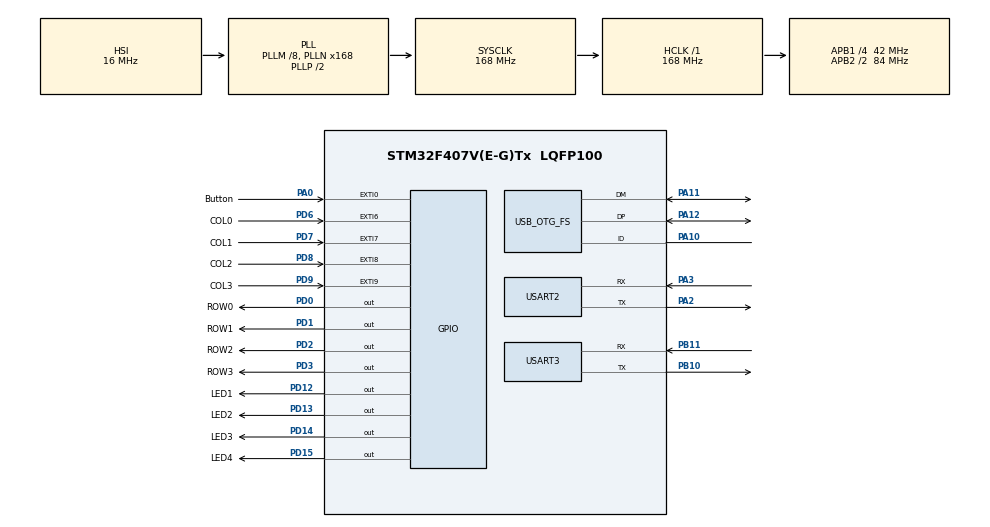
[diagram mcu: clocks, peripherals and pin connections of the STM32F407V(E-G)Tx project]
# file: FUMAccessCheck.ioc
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FREERTOS.BinarySemaphores01=UIDSemaphore,Dynamic,NULL
FREERTOS.Tasks01=defaultTask,0,128,StartDefaultTask,Default,NULL,Dynamic,NULL,NULL;RTC,-1,128,RTCController,Default,NULL,Dynamic,NULL,NULL;Keypad,0,128,keypadController,Default,NULL,Dynamic,NULL,NULL;LCD,0,128,LCDController,Default,NULL,Dynamic,NULL,NULL;EEPROM,2,128,E2PROMController,Default,NULL,Dynamic,NULL,NULL;ESP,0,128,WebPanelController,Default,NULL,Dynamic,NULL,NULL
FREERTOS.Timers01=myTimer01,Callback01,osTimerPeriodic,Default,NULL,Dynamic,NULL;myTimer02,Callback02,osTimerPeriodic,Default,NULL,Dynamic,NULL
FREERTOS.configUSE_TIMERS=1
Mcu.Family=STM32F4
Mcu.Name=STM32F407V(E-G)Tx
Mcu.Package=LQFP100
NVIC.EXTI0_IRQn=true\:5\:0\:true\:false\:true\:true\:true
NVIC.EXTI9_5_IRQn=true\:5\:0\:true\:false\:true\:true\:true
NVIC.PriorityGroup=NVIC_PRIORITYGROUP_4
NVIC.TIM6_DAC_IRQn=true\:0\:0\:false\:false\:true\:false\:false
NVIC.TimeBase=TIM6_DAC_IRQn
NVIC.TimeBaseIP=TIM6
NVIC.USART2_IRQn=true\:5\:0\:false\:false\:true\:true\:true
NVIC.USART3_IRQn=true\:5\:0\:false\:false\:true\:true\:true
PA0-WKUP.GPIO_Label=Button
PA0-WKUP.GPIO_PuPd=GPIO_PULLDOWN
PA0-WKUP.Signal=GPXTI0
PA10.Mode=OTG/Dual_Role_Device
PA10.Signal=USB_OTG_FS_ID
PA11.Mode=OTG/Dual_Role_Device
PA11.Signal=USB_OTG_FS_DM
PA12.Mode=OTG/Dual_Role_Device
PA12.Signal=USB_OTG_FS_DP
PA13.Mode=Serial_Wire
PA13.Signal=SYS_JTMS-SWDIO
PA14.Mode=Serial_Wire
PA14.Signal=SYS_JTCK-SWCLK
PA2.Mode=Asynchronous
PA2.Signal=USART2_TX
PA3.Mode=Asynchronous
PA3.Signal=USART2_RX
PB10.Mode=Asynchronous
PB10.Signal=USART3_TX
PB11.Mode=Asynchronous
PB11.Signal=USART3_RX
PD0.GPIO_Label=ROW0
PD0.GPIO_PuPd=GPIO_PULLDOWN
PD0.Signal=GPIO_Output
PD1.GPIO_Label=ROW1
PD1.GPIO_PuPd=GPIO_PULLDOWN
PD1.Signal=GPIO_Output
PD12.GPIO_Label=LED1
PD12.Signal=GPIO_Output
PD13.GPIO_Label=LED2
PD13.Signal=GPIO_Output
PD14.GPIO_Label=LED3
PD14.Signal=GPIO_Output
PD15.GPIO_Label=LED4
PD15.Signal=GPIO_Output
PD2.GPIO_Label=ROW2
PD2.GPIO_PuPd=GPIO_PULLDOWN
PD2.Signal=GPIO_Output
PD3.GPIO_Label=ROW3
PD3.GPIO_PuPd=GPIO_PULLDOWN
PD3.Signal=GPIO_Output
PD6.GPIO_Label=COL0
PD6.GPIO_PuPd=GPIO_PULLDOWN
PD6.Signal=GPXTI6
PD7.GPIO_Label=COL1
PD7.GPIO_PuPd=GPIO_PULLDOWN
PD7.Signal=GPXTI7
PD8.GPIO_Label=COL2
PD8.GPIO_PuPd=GPIO_PULLDOWN
PD8.Signal=GPXTI8
PD9.GPIO_Label=COL3
PD9.GPIO_PuPd=GPIO_PULLDOWN
PD9.Signal=GPXTI9
ProjectManager.HeapSize=0x200
ProjectManager.StackSize=0x400
ProjectManager.TargetToolchain=MDK-ARM V5
RCC.48MHZClocksFreq_Value=48000000
RCC.AHBFreq_Value=168000000
RCC.APB1CLKDivider=RCC_HCLK_DIV4
RCC.APB1Freq_Value=42000000
RCC.APB1TimFreq_Value=84000000
RCC.APB2CLKDivider=RCC_HCLK_DIV2
RCC.APB2Freq_Value=84000000
RCC.APB2TimFreq_Value=168000000
RCC.CortexFreq_Value=168000000
RCC.HCLKFreq_Value=168000000
RCC.HSE_VALUE=8000000
RCC.HSI_VALUE=16000000
RCC.LSE_VALUE=32768
RCC.PLLM=8
RCC.PLLN=168
RCC.PLLQ=7
RCC.PLLSourceVirtualString=RCC_PLLSOURCE_HSI
RCC.SYSCLKFreq_VALUE=168000000
RCC.SYSCLKSource=RCC_SYSCLKSOURCE_PLLCLK
RCC.VCOOutputFreq_Value=336000000
RTC.AsynchPrediv=31
RTC.Date=1
RTC.Hours=0
RTC.Minutes=0
RTC.Month=RTC_MONTH_JANUARY
RTC.SynchPrediv=999
RTC.WeekDay=RTC_WEEKDAY_MONDAY
USART2.VirtualMode=VM_ASYNC
USART3.VirtualMode=VM_ASYNC
VP_FREERTOS_VS_ENABLE.Mode=Enabled
VP_RTC_VS_RTC_Activate.Mode=RTC_Enabled
VP_RTC_VS_RTC_Calendar.Mode=RTC_Calendar
VP_SYS_VS_tim6.Mode=TIM6
board=STM32F4DISCOVERY

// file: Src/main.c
/* USER CODE BEGIN Header */
/**
  ******************************************************************************
  * @file           : main.c
  * @brief          : Main program body
  ******************************************************************************
  * This notice applies to any and all portions of this file
  * that are not between comment pairs USER CODE BEGIN and
  * USER CODE END. Other portions of this file, whether
  * inserted by the user or by software development tools
  * are owned by their respective copyright owners.
  *
  * Copyright (c) 2019 STMicroelectronics International N.V.
  * All rights reserved.
  *
  * Redistribution and use in source and binary forms, with or without
  * modification, are permitted, provided that the following conditions are met:
  *
  * 1. Redistribution of source code must retain the above copyright notice,
  *    this list of conditions and the following disclaimer.
  * 2. Redistributions in binary form must reproduce the above copyright notice,
  *    this list of conditions and the following disclaimer in the documentation
  *    and/or other materials provided with the distribution.
  * 3. Neither the name of STMicroelectronics nor the names of other
  *    contributors to this software may be used to endorse or promote products
  *    derived from this software without specific written permission.
  * 4. This software, including modifications and/or derivative works of this
  *    software, must execute solely and exclusively on microcontroller or
  *    microprocessor devices manufactured by or for STMicroelectronics.
  * 5. Redistribution and use of this software other than as permitted under
  *    this license is void and will automatically terminate your rights under
  *    this license.
  *
  * THIS SOFTWARE IS PROVIDED BY STMICROELECTRONICS AND CONTRIBUTORS "AS IS"
  * AND ANY EXPRESS, IMPLIED OR STATUTORY WARRANTIES, INCLUDING, BUT NOT
  * LIMITED TO, THE IMPLIED WARRANTIES OF MERCHANTABILITY, FITNESS FOR A
  * PARTICULAR PURPOSE AND NON-INFRINGEMENT OF THIRD PARTY INTELLECTUAL PROPERTY
  * RIGHTS ARE DISCLAIMED TO THE FULLEST EXTENT PERMITTED BY LAW. IN NO EVENT
  * SHALL STMICROELECTRONICS OR CONTRIBUTORS BE LIABLE FOR ANY DIRECT, INDIRECT,
  * INCIDENTAL, SPECIAL, EXEMPLARY, OR CONSEQUENTIAL DAMAGES (INCLUDING, BUT NOT
  * LIMITED TO, PROCUREMENT OF SUBSTITUTE GOODS OR SERVICES; LOSS OF USE, DATA,
  * OR PROFITS; OR BUSINESS INTERRUPTION) HOWEVER CAUSED AND ON ANY THEORY OF
  * LIABILITY, WHETHER IN CONTRACT, STRICT LIABILITY, OR TORT (INCLUDING
  * NEGLIGENCE OR OTHERWISE) ARISING IN ANY WAY OUT OF THE USE OF THIS SOFTWARE,
  * EVEN IF ADVISED OF THE POSSIBILITY OF SUCH DAMAGE.
  *
  ******************************************************************************
  */
/* USER CODE END Header */

#include "main.h"
#include "cmsis_os.h"

/* USER CODE BEGIN Includes */
#include "LiquidCrystal.h"
#include "stdlib.h"
#include <stdbool.h>
#include "eeprom.h"
/* USER CODE END Includes */

/* USER CODE BEGIN PD */

/*RTC vars*/
int i = 0;
char str[20];
char str2[20];
RTC_TimeTypeDef mytime;
RTC_DateTypeDef mydate;
extern bool RTCFlag;

/*Keypad vars*/
int keypadCounter= 1;
const char keypad[4][4]={{'1','2','3','A'},
									{'4','5','6','B'},
									{'7','8','9','C'},
									{'*','0','#','D'}};
int column;
int cursore = 0;
int cntr = 0;
bool clearScreen = true;
extern bool keypadFlag;
bool uidFlag = true;
bool passFlag = false;
char StudentNumber[100];
char password[100];

/*E2PROM vars*/
uint16_t VirtAddVarTab[NB_OF_VAR] = {0x5555, 0x6666, 0x7777};
uint16_t VarDataTab[NB_OF_VAR] = {5, 6, 7};
uint16_t VarValue,VarDataTmp = 0;
unsigned char E2PROMstr[1];
char received[100];
uint16_t E2PROMCounter = 0;
uint16_t E2PROMBuffer[100];
bool E2PROMFlag = false;
bool ESPFlag = false;
/*flags*/
extern bool resetFlag;
/* USER CODE END PD */

RTC_HandleTypeDef hrtc;

UART_HandleTypeDef huart2;
UART_HandleTypeDef huart3;

osThreadId defaultTaskHandle;
osThreadId RTCHandle;
osThreadId KeypadHandle;
osThreadId LCDHandle;
osThreadId EEPROMHandle;
osThreadId ESPHandle;
osTimerId myTimer01Handle;
osTimerId myTimer02Handle;
osSemaphoreId UIDSemaphoreHandle;
/* USER CODE BEGIN PV */
#ifdef __GNUC__
	#define PUTCHAR_PROTOTYPE int __io_putchar(int ch)
#else
	#define PUTCHAR_PROTOTYPE int fputc(int ch, FILE *f)
#endif

PUTCHAR_PROTOTYPE
{
	HAL_UART_Transmit(&huart3, (uint8_t *)&ch, 1, 1000); // change &uart1 accordingly
	return ch;
}
/* USER CODE END PV */

void SystemClock_Config(void);
static void MX_GPIO_Init(void);
static void MX_RTC_Init(void);
static void MX_USART3_UART_Init(void);
static void MX_USART2_UART_Init(void);
static void MX_USB_OTG_FS_USB_Init(void);
void StartDefaultTask(void const * argument);
void RTCController(void const * argument);
void keypadController(void const * argument);
void LCDController(void const * argument);
void E2PROMController(void const * argument);
void WebPanelController(void const * argument);
void Callback01(void const * argument);
void Callback02(void const * argument);

/* USER CODE BEGIN 0 */
void RTCInitialization(){
	mytime.Hours = 17 ;
	mytime.Minutes = 37;
	mytime.Seconds= 5;

	mydate.Year = 19;
	mydate.Month = RTC_MONTH_JULY;
	mydate.Date = 22;
	mydate.WeekDay = RTC_WEEKDAY_MONDAY;

	HAL_RTC_SetTime(&hrtc , &mytime,RTC_FORMAT_BCD);
	HAL_RTC_SetDate(&hrtc , &mydate,RTC_FORMAT_BCD);
}

void setRTC(){
		RTCInitialization();
		setCursor(0, 1);
		if(mydate.WeekDay == 1 ) print("Mon");
		else if (mydate.WeekDay == 2)	print("TUE");
		else if (mydate.WeekDay == 3)	print("WED");
		else if (mydate.WeekDay == 4)	print("THU");
		else if (mydate.WeekDay == 5)	print("FRI");
		else if (mydate.WeekDay == 6)	print("SAT");
		else if (mydate.WeekDay == 7)	print("SUN");

		setCursor(5, 1);
		sprintf(str2, "%02d/%02d", mydate.Month , mydate.Date);
		print(str2);

		setCursor(11, 1);
		sprintf(str, "%02d:%02d", mytime.Hours , mytime.Minutes);
		print(str);

    osDelay(500);
}

//void manageLCD(){
//	setCursor(0,0);
//	print("FUM Access Check");
//
//	osDelay(500);
//}

void startPage(){
	setCursor(0,0);
	print("FUM Access Check");
//	HAL_GPIO_WritePin(GPIOD, GPIO_PIN_12, GPIO_PIN_SET);
//	printf("uartConnected..\r\n");
	if(RTCFlag){
//		HAL_GPIO_WritePin(GPIOD, GPIO_PIN_15, 1);
		RTCFlag = false;
		setRTC();
		osTimerStart(myTimer01Handle, 100);
	}
}

void eepromGetId(){
	HAL_FLASH_Unlock();
	/* EEPROM Init */
	if( EE_Init() != EE_OK ){
		Error_Handler();
	}
	EE_ReadVariable(VirtAddVarTab[1], &E2PROMCounter);
	if(E2PROMCounter == 0xFFFF){
		E2PROMCounter = 0;
		EE_WriteVariable(VirtAddVarTab[1], E2PROMCounter);
	}
//	  for(int i = 0; i < E2PROMCounter; i++){
//			EE_ReadVariable(VirtAddVarTab[0]+i, (uint16_t *)&E2PROMBuffer[i]);
//	  }
//	  HAL_UART_Transmit(&huart2, (uint8_t *)E2PROMBuffer, sizeof(E2PROMBuffer), 100);
//
	  HAL_FLASH_Lock();
	if(E2PROMFlag){
			HAL_FLASH_Unlock();

			for(int i = 0; i < 10; i++){
				if(EE_WriteVariable(VirtAddVarTab[0] + E2PROMCounter++, StudentNumber[i]) != HAL_OK){
					Error_Handler();
				}
				EE_WriteVariable(VirtAddVarTab[1], E2PROMCounter);
			}

			EE_WriteVariable(VirtAddVarTab[1], E2PROMCounter);
			HAL_FLASH_Lock();
		}
}

void manageKeypad(){
	for(int row=0;row<4;row++){
			column= -1;
			switch(row){
				case 0:
					HAL_GPIO_WritePin(GPIOD,GPIO_PIN_0,1);
					HAL_GPIO_WritePin(GPIOD,GPIO_PIN_1,0);
					HAL_GPIO_WritePin(GPIOD,GPIO_PIN_2,0);
					HAL_GPIO_WritePin(GPIOD,GPIO_PIN_3,0);
					break;
				case 1:
					HAL_GPIO_WritePin(GPIOD,GPIO_PIN_0,0);
					HAL_GPIO_WritePin(GPIOD,GPIO_PIN_1,1);
					HAL_GPIO_WritePin(GPIOD,GPIO_PIN_2,0);
					HAL_GPIO_WritePin(GPIOD,GPIO_PIN_3,0);
					break;
				case 2:
					HAL_GPIO_WritePin(GPIOD,GPIO_PIN_0,0);
					HAL_GPIO_WritePin(GPIOD,GPIO_PIN_1,0);
					HAL_GPIO_WritePin(GPIOD,GPIO_PIN_2,1);
					HAL_GPIO_WritePin(GPIOD,GPIO_PIN_3,0);
					break;
				case 3:
					HAL_GPIO_WritePin(GPIOD,GPIO_PIN_0,0);
					HAL_GPIO_WritePin(GPIOD,GPIO_PIN_1,0);
					HAL_GPIO_WritePin(GPIOD,GPIO_PIN_2,0);
					HAL_GPIO_WritePin(GPIOD,GPIO_PIN_3,1);
					break;
			}
			//debaunce
			if(HAL_GPIO_ReadPin(GPIOD,GPIO_PIN_6)){
				column=0;
//				HAL_GPIO_WritePin(GPIOD, GPIO_PIN_13, 1);
				while(HAL_GPIO_ReadPin(GPIOD,GPIO_PIN_6));
			}
			if(HAL_GPIO_ReadPin(GPIOD,GPIO_PIN_7)){
				column=1;
				while(HAL_GPIO_ReadPin(GPIOD,GPIO_PIN_7));
			}
			if(HAL_GPIO_ReadPin(GPIOD,GPIO_PIN_8)){
				column=2;
				while(HAL_GPIO_ReadPin(GPIOD,GPIO_PIN_8));
			}
			if(HAL_GPIO_ReadPin(GPIOD,GPIO_PIN_9)){
				column=3;
				while(HAL_GPIO_ReadPin(GPIOD,GPIO_PIN_9));
			}

			if(keypadFlag){
				if(column!=-1){
//					HAL_GPIO_WritePin(GPIOD, GPIO_PIN_14, 1);
//					printf("%c", keypad[row][column]);

					if(clearScreen == true){
						setCursor(0,0);
						print("                ");
						setCursor(0,1);
						print("                ");
						clearScreen = false;
					}
//					clear();
					setCursor(cursore,0);
					cntr=0;
					if(keypad[row][column]=='1'||keypad[row][column]=='2'||keypad[row][column]=='3'||keypad[row][column]=='4'||keypad[row][column]=='5'||
						keypad[row][column]=='6'||keypad[row][column]=='7'||keypad[row][column]=='8'||keypad[row][column]=='9'||keypad[row][column]=='0'){
//							if(uidFlag){
							setCursor(0,0);
							print("Enter UID :");
							setCursor(cursore++,1);
							StudentNumber[cntr++]=keypad[row][column];
							write(keypad[row][column]);
//							}

					}else if(keypad[row][column]=='*'){
						printf("finished!\r\n");
						clearScreen = true;
						cursore = 0;
						clear();
						RTCFlag = true;
						startPage();
						break;
					}else if(keypad[row][column]=='#'){
						printf("checkUID!\r\n");
						clearScreen = true;
						cursore = 0;
						clear();
						setCursor(0,0);
//						uidFlag = false;
						print("Cheking UID!");
						HAL_Delay(100);
						clear();
						setCursor(0,0);
						print("unauthorized");
						HAL_GPIO_TogglePin(GPIOD, GPIO_PIN_12);
						HAL_GPIO_TogglePin(GPIOD, GPIO_PIN_13);
						HAL_GPIO_TogglePin(GPIOD, GPIO_PIN_14);
						HAL_GPIO_TogglePin(GPIOD, GPIO_PIN_15);
						osTimerStart(myTimer02Handle, 10);
						break;
					}else if(keypad[row][column]=='A'||keypad[row][column]=='B'||keypad[row][column]=='C'||keypad[row][column]=='D'){
						clear();
						setCursor(0,0);
						print("Enter Password :");
						HAL_Delay(100);
//						if(passFlag){
//							password[cntr++]=keypad[row][column];
//							write(keypad[row][column]);
//						}

						//password check ...
						if(keypad[row][column]=='A'){
							cursore = 0;
							clear();
							setCursor(0,0);
							ESPFlag = true;
							print("Checking SSID...");
						}else if(keypad[row][column]=='B'){
							cursore = 0;
							clear();
							setCursor(0,0);
							print("saving..");
							E2PROMFlag = true;
							eepromGetId();
						}else if(keypad[row][column]=='C'){
							cursore = 0;
							clear();
							setCursor(0,0);
							print("Enter UID :");
						}else if(keypad[row][column]=='D'){
							cursore = 0;
							clear();
							setCursor(0,0);
							print("Restart ...");
							HAL_Delay(50);
							HAL_NVIC_SystemReset();
						}
					}
				}
			}
		}
}

//void manageEEPROM(){
//	/* Unlock the Flash Program Erase controller */
//	  HAL_FLASH_Unlock();
//
//	  /* EEPROM Init */
//	  if( EE_Init() != EE_OK){
//			Error_Handler();
//	  }
//
//	  EE_ReadVariable(VirtAddVarTab[1], &E2PROMCounter);
//
//	  if(E2PROMCounter == 0xFFFF){
//			E2PROMCounter = 0;
//			EE_WriteVariable(VirtAddVarTab[1], E2PROMCounter);
//	  }
//
//	  for(int i = 0; i < E2PROMCounter; i++){
//			EE_ReadVariable(VirtAddVarTab[0]+i, (uint16_t *)&E2PROMBuffer[i]);
//	  }
//	  HAL_UART_Transmit(&huart2, (uint8_t *)E2PROMBuffer, sizeof(E2PROMBuffer), 100);
//
//	  HAL_FLASH_Lock();
//
//	  HAL_UART_Receive_IT(&huart2, E2PROMstr, 1);
//
//		if(E2PROMFlag){
//			HAL_FLASH_Unlock();
//
//			E2PROMBuffer[E2PROMCounter]=E2PROMstr[0];
//
//			for(int i = 0; i < 10; i++){
//				if(EE_WriteVariable(VirtAddVarTab[0] + E2PROMCounter++, StudentNumber[i]) != HAL_OK){
//					Error_Handler();
//				}
//			}
//			EE_WriteVariable(VirtAddVarTab[1], E2PROMCounter);
//
//			HAL_FLASH_Lock();
//			HAL_UART_Receive_IT(&huart2,E2PROMstr,1);
//		}
//}

//void resetFactory(){
//	if(resetFlag){
//		HAL_NVIC_SystemReset();
//		keypadCounter= 1;
//		cursore = 0;
//		cntr = 0;
//		clearScreen = true;
//		VarValue = 0;
//		VarDataTmp = 0;
//		E2PROMCounter = 0;
//		E2PROMFlag = false;
//		keypadFlag = false;
//		RTCFlag = true;
//		resetFlag = false;
//	}
//}

void atCommound(){
	printf("AT\r\n");
	osDelay(700);
	printf("AT+CWMODE=1\r\n");
	osDelay(2700);
	printf("AT+AT+CIFSR\r\n");
	osDelay(2700);
	printf("AT+CWJAP=\"hodhod\",\"12345678\"\r\n");
	osDelay(2700);
	printf("AT+CWJAP=?\r\n");
	osDelay(2700);
	printf("AT+CIPMUX=1\r\n");
	osDelay(2700);
	printf("AT+CIPSERVER=1,80\r\n");
	osDelay(2700);
//	printf("AT+CWJAP=\"hodhod\",\"12345678\",4,0\r\n");
//	osDelay(2700);
}
/* USER CODE END 0 */

int main(void)
{

  /* MCU Configuration--------------------------------------------------------*/

  /* Reset of all peripherals, Initializes the Flash interface and the Systick. */
  HAL_Init();

  /* USER CODE BEGIN Init */
	LiquidCrystal(GPIOE, GPIO_PIN_8, GPIO_PIN_9, GPIO_PIN_10, GPIO_PIN_11, GPIO_PIN_12, GPIO_PIN_13, GPIO_PIN_14);
  /* USER CODE END Init */

  /* Configure the system clock */
  SystemClock_Config();

  /* Initialize all configured peripherals */
  MX_GPIO_Init();
  MX_RTC_Init();
  MX_USART3_UART_Init();
  MX_USART2_UART_Init();
  MX_USB_OTG_FS_USB_Init();
  /* USER CODE BEGIN 2 */

	/*RTC initialization*/

  /* USER CODE END 2 */

  /* Create the semaphores(s) */
  /* definition and creation of UIDSemaphore */
  osSemaphoreDef(UIDSemaphore);
  UIDSemaphoreHandle = osSemaphoreCreate(osSemaphore(UIDSemaphore), 1);

  /* Create the timer(s) */
  /* definition and creation of myTimer01 */
  osTimerDef(myTimer01, Callback01);
  myTimer01Handle = osTimerCreate(osTimer(myTimer01), osTimerPeriodic, NULL);

  /* definition and creation of myTimer02 */
  osTimerDef(myTimer02, Callback02);
  myTimer02Handle = osTimerCreate(osTimer(myTimer02), osTimerPeriodic, NULL);

  /* Create the thread(s) */
  /* definition and creation of defaultTask */
  osThreadDef(defaultTask, StartDefaultTask, osPriorityNormal, 0, 128);
  defaultTaskHandle = osThreadCreate(osThread(defaultTask), NULL);

  /* definition and creation of RTC */
  osThreadDef(RTC, RTCController, osPriorityBelowNormal, 0, 128);
  RTCHandle = osThreadCreate(osThread(RTC), NULL);

  /* definition and creation of Keypad */
  osThreadDef(Keypad, keypadController, osPriorityNormal, 0, 128);
  KeypadHandle = osThreadCreate(osThread(Keypad), NULL);

  /* definition and creation of LCD */
  osThreadDef(LCD, LCDController, osPriorityNormal, 0, 128);
  LCDHandle = osThreadCreate(osThread(LCD), NULL);

  /* definition and creation of EEPROM */
  osThreadDef(EEPROM, E2PROMController, osPriorityHigh, 0, 128);
  EEPROMHandle = osThreadCreate(osThread(EEPROM), NULL);

  /* definition and creation of ESP */
  osThreadDef(ESP, WebPanelController, osPriorityNormal, 0, 128);
  ESPHandle = osThreadCreate(osThread(ESP), NULL);

  /* Start scheduler */
  osKernelStart();

  /* We should never get here as control is now taken by the scheduler */

  /* Infinite loop */
  while (1){

  }
}

void SystemClock_Config(void)
{
  RCC_OscInitTypeDef RCC_OscInitStruct = {0};
  RCC_ClkInitTypeDef RCC_ClkInitStruct = {0};
  RCC_PeriphCLKInitTypeDef PeriphClkInitStruct = {0};

  /**Configure the main internal regulator output voltage
  */
  __HAL_RCC_PWR_CLK_ENABLE();
  __HAL_PWR_VOLTAGESCALING_CONFIG(PWR_REGULATOR_VOLTAGE_SCALE1);
  /**Initializes the CPU, AHB and APB busses clocks
  */
  RCC_OscInitStruct.OscillatorType = RCC_OSCILLATORTYPE_HSI|RCC_OSCILLATORTYPE_LSI;
  RCC_OscInitStruct.HSIState = RCC_HSI_ON;
  RCC_OscInitStruct.HSICalibrationValue = RCC_HSICALIBRATION_DEFAULT;
  RCC_OscInitStruct.LSIState = RCC_LSI_ON;
  RCC_OscInitStruct.PLL.PLLState = RCC_PLL_ON;
  RCC_OscInitStruct.PLL.PLLSource = RCC_PLLSOURCE_HSI;
  RCC_OscInitStruct.PLL.PLLM = 8;
  RCC_OscInitStruct.PLL.PLLN = 168;
  RCC_OscInitStruct.PLL.PLLP = RCC_PLLP_DIV2;
  RCC_OscInitStruct.PLL.PLLQ = 7;
  if (HAL_RCC_OscConfig(&RCC_OscInitStruct) != HAL_OK)
  {
    Error_Handler();
  }
  /**Initializes the CPU, AHB and APB busses clocks
  */
  RCC_ClkInitStruct.ClockType = RCC_CLOCKTYPE_HCLK|RCC_CLOCKTYPE_SYSCLK
                              |RCC_CLOCKTYPE_PCLK1|RCC_CLOCKTYPE_PCLK2;
  RCC_ClkInitStruct.SYSCLKSource = RCC_SYSCLKSOURCE_PLLCLK;
  RCC_ClkInitStruct.AHBCLKDivider = RCC_SYSCLK_DIV1;
  RCC_ClkInitStruct.APB1CLKDivider = RCC_HCLK_DIV4;
  RCC_ClkInitStruct.APB2CLKDivider = RCC_HCLK_DIV2;

  if (HAL_RCC_ClockConfig(&RCC_ClkInitStruct, FLASH_LATENCY_5) != HAL_OK)
  {
    Error_Handler();
  }
  PeriphClkInitStruct.PeriphClockSelection = RCC_PERIPHCLK_RTC;
  PeriphClkInitStruct.RTCClockSelection = RCC_RTCCLKSOURCE_LSI;
  if (HAL_RCCEx_PeriphCLKConfig(&PeriphClkInitStruct) != HAL_OK)
  {
    Error_Handler();
  }
}

static void MX_RTC_Init(void)
{

  RTC_TimeTypeDef sTime = {0};
  RTC_DateTypeDef sDate = {0};

  /**Initialize RTC Only
  */
  hrtc.Instance = RTC;
  hrtc.Init.HourFormat = RTC_HOURFORMAT_24;
  hrtc.Init.AsynchPrediv = 31;
  hrtc.Init.SynchPrediv = 999;
  hrtc.Init.OutPut = RTC_OUTPUT_DISABLE;
  hrtc.Init.OutPutPolarity = RTC_OUTPUT_POLARITY_HIGH;
  hrtc.Init.OutPutType = RTC_OUTPUT_TYPE_OPENDRAIN;
  if (HAL_RTC_Init(&hrtc) != HAL_OK)
  {
    Error_Handler();
  }

  /**Initialize RTC and set the Time and Date
  */
  sTime.Hours = 0x0;
  sTime.Minutes = 0x0;
  sTime.Seconds = 0x0;
  sTime.DayLightSaving = RTC_DAYLIGHTSAVING_NONE;
  sTime.StoreOperation = RTC_STOREOPERATION_RESET;
  if (HAL_RTC_SetTime(&hrtc, &sTime, RTC_FORMAT_BCD) != HAL_OK)
  {
    Error_Handler();
  }
  sDate.WeekDay = RTC_WEEKDAY_MONDAY;
  sDate.Month = RTC_MONTH_JANUARY;
  sDate.Date = 0x1;
  sDate.Year = 0x0;

  if (HAL_RTC_SetDate(&hrtc, &sDate, RTC_FORMAT_BCD) != HAL_OK)
  {
    Error_Handler();
  }

}

static void MX_USART2_UART_Init(void)
{

  huart2.Instance = USART2;
  huart2.Init.BaudRate = 115200;
  huart2.Init.WordLength = UART_WORDLENGTH_8B;
  huart2.Init.StopBits = UART_STOPBITS_1;
  huart2.Init.Parity = UART_PARITY_NONE;
  huart2.Init.Mode = UART_MODE_TX_RX;
  huart2.Init.HwFlowCtl = UART_HWCONTROL_NONE;
  huart2.Init.OverSampling = UART_OVERSAMPLING_16;
  if (HAL_UART_Init(&huart2) != HAL_OK)
  {
    Error_Handler();
  }

}

static void MX_USART3_UART_Init(void)
{

  huart3.Instance = USART3;
  huart3.Init.BaudRate = 115200;
  huart3.Init.WordLength = UART_WORDLENGTH_8B;
  huart3.Init.StopBits = UART_STOPBITS_1;
  huart3.Init.Parity = UART_PARITY_NONE;
  huart3.Init.Mode = UART_MODE_TX_RX;
  huart3.Init.HwFlowCtl = UART_HWCONTROL_NONE;
  huart3.Init.OverSampling = UART_OVERSAMPLING_16;
  if (HAL_UART_Init(&huart3) != HAL_OK)
  {
    Error_Handler();
  }

}

static void MX_USB_OTG_FS_USB_Init(void)
{

}

static void MX_GPIO_Init(void)
{
  GPIO_InitTypeDef GPIO_InitStruct = {0};

  /* GPIO Ports Clock Enable */
  __HAL_RCC_GPIOA_CLK_ENABLE();
  __HAL_RCC_GPIOB_CLK_ENABLE();
  __HAL_RCC_GPIOD_CLK_ENABLE();

  /*Configure GPIO pin Output Level */
  HAL_GPIO_WritePin(GPIOD, LED1_Pin|LED2_Pin|LED3_Pin|LED4_Pin
                          |ROW0_Pin|ROW1_Pin|ROW2_Pin|ROW3_Pin, GPIO_PIN_RESET);

  /*Configure GPIO pin : Button_Pin */
  GPIO_InitStruct.Pin = Button_Pin;
  GPIO_InitStruct.Mode = GPIO_MODE_IT_RISING;
  GPIO_InitStruct.Pull = GPIO_PULLDOWN;
  HAL_GPIO_Init(Button_GPIO_Port, &GPIO_InitStruct);

  /*Configure GPIO pins : COL2_Pin COL3_Pin COL0_Pin COL1_Pin */
  GPIO_InitStruct.Pin = COL2_Pin|COL3_Pin|COL0_Pin|COL1_Pin;
  GPIO_InitStruct.Mode = GPIO_MODE_IT_RISING;
  GPIO_InitStruct.Pull = GPIO_PULLDOWN;
  HAL_GPIO_Init(GPIOD, &GPIO_InitStruct);

  /*Configure GPIO pins : LED1_Pin LED2_Pin LED3_Pin LED4_Pin */
  GPIO_InitStruct.Pin = LED1_Pin|LED2_Pin|LED3_Pin|LED4_Pin;
  GPIO_InitStruct.Mode = GPIO_MODE_OUTPUT_PP;
  GPIO_InitStruct.Pull = GPIO_NOPULL;
  GPIO_InitStruct.Speed = GPIO_SPEED_FREQ_LOW;
  HAL_GPIO_Init(GPIOD, &GPIO_InitStruct);

  /*Configure GPIO pins : PA10 PA11 PA12 */
  GPIO_InitStruct.Pin = GPIO_PIN_10|GPIO_PIN_11|GPIO_PIN_12;
  GPIO_InitStruct.Mode = GPIO_MODE_AF_PP;
  GPIO_InitStruct.Pull = GPIO_NOPULL;
  GPIO_InitStruct.Speed = GPIO_SPEED_FREQ_VERY_HIGH;
  GPIO_InitStruct.Alternate = GPIO_AF10_OTG_FS;
  HAL_GPIO_Init(GPIOA, &GPIO_InitStruct);

  /*Configure GPIO pins : ROW0_Pin ROW1_Pin ROW2_Pin ROW3_Pin */
  GPIO_InitStruct.Pin = ROW0_Pin|ROW1_Pin|ROW2_Pin|ROW3_Pin;
  GPIO_InitStruct.Mode = GPIO_MODE_OUTPUT_PP;
  GPIO_InitStruct.Pull = GPIO_PULLDOWN;
  GPIO_InitStruct.Speed = GPIO_SPEED_FREQ_LOW;
  HAL_GPIO_Init(GPIOD, &GPIO_InitStruct);

  /* EXTI interrupt init*/
  HAL_NVIC_SetPriority(EXTI0_IRQn, 5, 0);
  HAL_NVIC_EnableIRQ(EXTI0_IRQn);

  HAL_NVIC_SetPriority(EXTI9_5_IRQn, 5, 0);
  HAL_NVIC_EnableIRQ(EXTI9_5_IRQn);

}

void StartDefaultTask(void const * argument)
{

  for(;;){
    osDelay(1);
  }
}

void RTCController(void const * argument)
{
  /* USER CODE BEGIN RTCController */
//	RTCInitialization();
  /* Infinite loop */
  for(;;){
		if(RTCFlag){
//			HAL_GPIO_WritePin(GPIOD, GPIO_PIN_15, 1);
			RTCFlag = false;
			setRTC();
			osTimerStart(myTimer01Handle, 100);
		}
  }
  /* USER CODE END RTCController */
}

void keypadController(void const * argument)
{
  /* USER CODE BEGIN keypadController */
  /* Infinite loop */
  for(;;){
		manageKeypad();
    osDelay(1);
  }
  /* USER CODE END keypadController */
}

void LCDController(void const * argument)
{
  /* USER CODE BEGIN LCDController */

  /* Infinite loop */
	startPage();
  for(;;){

  }
  /* USER CODE END LCDController */
}

void E2PROMController(void const * argument)
{
  /* USER CODE BEGIN E2PROMController */
//	manageEEPROM();
	eepromGetId();
	E2PROMFlag = false;
  /* Infinite loop */
  for(;;)
  {
    osDelay(1);
  }
  /* USER CODE END E2PROMController */
}

void WebPanelController(void const * argument)
{
	if(ESPFlag){
		atCommound();
		ESPFlag = false;
	}
  for(;;){
    osDelay(1);
  }
}

/* Callback01 function */
void Callback01(void const * argument)
{
  /* USER CODE BEGIN Callback01 */
	RTCFlag = true;
//	HAL_GPIO_WritePin(GPIOD, GPIO_PIN_15, 1);
  osTimerStop(myTimer01Handle);
  /* USER CODE END Callback01 */
}

/* Callback02 function */
void Callback02(void const * argument)
{
  /* USER CODE BEGIN Callback02 */
	printf("hiii");
  HAL_GPIO_TogglePin(GPIOD, GPIO_PIN_12);
	HAL_GPIO_TogglePin(GPIOD, GPIO_PIN_13);
	HAL_GPIO_TogglePin(GPIOD, GPIO_PIN_14);
	HAL_GPIO_TogglePin(GPIOD, GPIO_PIN_15);
	osTimerStop(myTimer02Handle);
  /* USER CODE END Callback02 */
}

void HAL_TIM_PeriodElapsedCallback(TIM_HandleTypeDef *htim)
{
  if (htim->Instance == TIM6) {
    HAL_IncTick();
  }
}

void Error_Handler(void)
{
}

/************************ (C) COPYRIGHT STMicroelectronics *****END OF FILE****/
